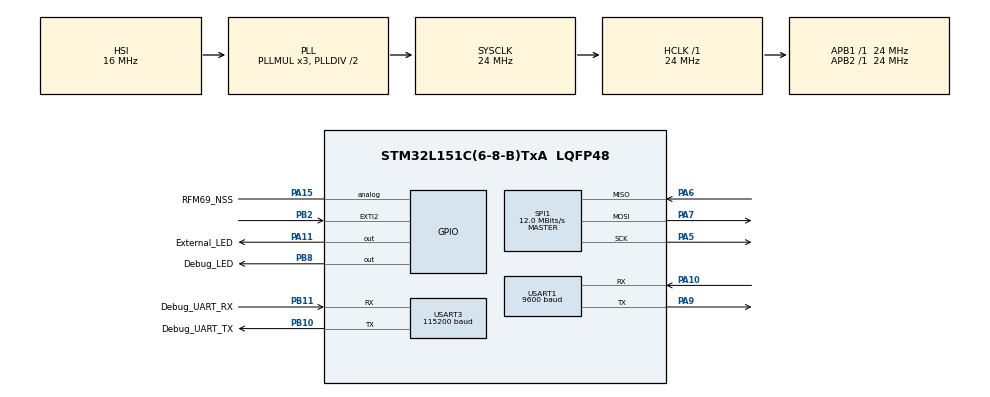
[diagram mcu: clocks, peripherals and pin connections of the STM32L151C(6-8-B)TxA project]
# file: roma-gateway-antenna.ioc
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Mcu.Family=STM32L1
Mcu.Name=STM32L151C(6-8-B)TxA
Mcu.Package=LQFP48
NVIC.EXTI2_IRQn=true\:0\:0\:false\:false\:true\:true\:true\:true
NVIC.PriorityGroup=NVIC_PRIORITYGROUP_4
NVIC.USART1_IRQn=true\:0\:0\:false\:false\:true\:true\:true\:true
PA10.Mode=Asynchronous
PA10.Signal=USART1_RX
PA11.GPIO_Label=External_LED
PA11.Signal=GPIO_Output
PA13.GPIO_Label=Programmer_DIO
PA13.Signal=SYS_JTMS-SWDIO
PA14.GPIO_Label=Programmer_CLK
PA14.Signal=SYS_JTCK-SWCLK
PA15.GPIO_Label=RFM69_NSS
PA15.Signal=GPIO_Analog
PA5.Mode=Full_Duplex_Master
PA5.Signal=SPI1_SCK
PA6.Mode=Full_Duplex_Master
PA6.Signal=SPI1_MISO
PA7.Mode=Full_Duplex_Master
PA7.Signal=SPI1_MOSI
PA9.Mode=Asynchronous
PA9.Signal=USART1_TX
PB10.GPIO_Label=Debug_UART_TX
PB10.Mode=Asynchronous
PB10.Signal=USART3_TX
PB11.GPIO_Label=Debug_UART_RX
PB11.Mode=Asynchronous
PB11.Signal=USART3_RX
PB2.Signal=GPXTI2
PB8.GPIO_Label=Debug_LED
PB8.Signal=GPIO_Output
ProjectManager.HeapSize=0x200
ProjectManager.StackSize=0x400
ProjectManager.TargetToolchain=STM32CubeIDE
RCC.48MHZClocksFreq_Value=24000000
RCC.AHBFreq_Value=24000000
RCC.APB1Freq_Value=24000000
RCC.APB1TimFreq_Value=24000000
RCC.APB2Freq_Value=24000000
RCC.APB2TimFreq_Value=24000000
RCC.HCLKFreq_Value=24000000
RCC.HSE_VALUE=24000000
RCC.HSI_VALUE=16000000
RCC.LSE_VALUE=32768
RCC.MSI_VALUE=2097000
RCC.SYSCLKFreq_VALUE=24000000
RCC.SYSCLKSource=RCC_SYSCLKSOURCE_PLLCLK
RCC.VCOOutputFreq_Value=48000000
SPI1.CalculateBaudRate=12.0 MBits/s
SPI1.Direction=SPI_DIRECTION_2LINES
SPI1.Mode=SPI_MODE_MASTER
SPI1.VirtualType=VM_MASTER
USART1.BaudRate=9600
USART1.VirtualMode=VM_ASYNC
USART3.BaudRate=115200
USART3.Mode=MODE_TX_RX
USART3.Parity=PARITY_NONE
USART3.VirtualMode=VM_ASYNC
board=custom

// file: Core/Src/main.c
/* USER CODE BEGIN Header */
/* USER CODE END Header */
#include "main.h"

/* USER CODE BEGIN Includes */
#include "debug.h"
#include "rfm69/include/rfm69.h"
#include "config.h"

/* USER CODE END Includes */

SPI_HandleTypeDef hspi1;

UART_HandleTypeDef huart1;
UART_HandleTypeDef huart3;

/* USER CODE BEGIN PV */
RFM69 RFM;
/**
 * Buffer used by the UART1 interrupt
 * Everytime the interrupt is triggered,
 * the received character is put here
 */
uint8_t UART1_rxBuffer[1] = {0};

/**
 * Accumulator for bytes received over UART1.
 * Only bytes received after the START bytes have been received
 * are put here.
 */
uint8_t UART1_msgAccumulator[32] = {0};
/**
 * The index at which the next character should be.
 * If this value is 2, the last valid character is at index 1.
 *
 * Should never be >= the size of the msgAccumulator.
 */
uint8_t UART1_msgBufferIdx = 0;

/**
 * Buffer containing a parsed message.
 * The contents of the msgAccumulator are put here after the STOP bytes
 * have been received.
 */
uint8_t UART1_msgReadyBuffer[32] = {0};
/**
 * The length of the msgReadyBuffer.
 *
 * Should not be >= 32
 */
uint8_t UART1_msgReadyLength = 0;
/**
 * Whether the UART1 interrupt handler
 * is currently in the middle of a message.
 * I.e. when the START bytes have been seen
 */
bool UART1_inMessage = false;
/**
 * Whether there's a message ready in UART1_msgReadyBuffer.
 * I.e. UART1_inMessage was true and the STOP bytes have been seen
 */
bool UART1_msgReady = false;
/**
 * The previous byte received by the UART1 interrupt handler.
 */
uint8_t UART1_previousValue = 0;

/**
 * Buffer for transmitting over UART1
 */
uint8_t UART1_txBuffer[UartTxBufSize] = { 0 };
/* USER CODE END PV */

void SystemClock_Config(void);
static void MX_GPIO_Init(void);
static void MX_USART3_UART_Init(void);
static void MX_USART1_UART_Init(void);
static void MX_SPI1_Init(void);

/* USER CODE BEGIN 0 */
/**
 * Interrupt handler for UART1.
 * This handler is called for every character received via UART1.
 *
 * It'll detect the START and STOP bytes set by the controller and extract the message in between.
 * If a full message has been found, `UART1_msgReady` is set.
 * @param huart
 */
void HAL_UART_RxCpltCallback(UART_HandleTypeDef *huart) {
  // Safe as this interrupt gets called when
  // a character is received.
  uint8_t byte = UART1_rxBuffer[0];

  if (byte == 0xFE && UART1_previousValue == 0xFF) {
    // We've detected the START bytes
    UART1_inMessage = true;
  } else if (UART1_previousValue == 0xFF && byte == 0xFD && UART1_inMessage) {
    // We've detected the STOP byte,
    // and we were in the middle of a message

    // As the current character is the second byte of the STOP bytes,
    // we must remove the first byte of the STOP bytes from our message buffer
    --UART1_msgBufferIdx;

    // We're no longer in a message now, we're at the end
    UART1_inMessage = false;

    // Copy the contents of the message accumulator
    // to the message ready buffer
    for (int i = 0; i < UART1_msgBufferIdx && i < 32; i++) {
      UART1_msgReadyBuffer[i] = UART1_msgAccumulator[i];
    }

    // Set the length and inform that a message is ready
    UART1_msgReadyLength = UART1_msgBufferIdx;
    UART1_msgReady = true;

    // Reset state
    UART1_msgBufferIdx = 0;
    UART1_previousValue = 0;
  } else if (UART1_inMessage) {
    // We're in the middle of a message,
    // so add the received character to the buffer
    UART1_msgAccumulator[UART1_msgBufferIdx++] = byte;

    UART1_previousValue = byte;
  } else {
    // We're not in a message.
    // Just set the previous_value for the next time
    // the interrupt is triggered.

    UART1_previousValue = byte;
  }

  // Start receiving in interrupt mode again
  HAL_UART_Receive_IT(huart, UART1_rxBuffer, 1);
}

/**
 * Handle any data received by the RFM, if there is any.
 * It'll format a packet and transmit it over UART1
 */
void handleRfmRx() {
  if (RFM.datalen > 0) {
    debug_print("Received message from radio");

    // Clear the buffer
    for(int i = 0; i < UartTxBufSize; i++) {
      UART1_txBuffer[i] = 0x0;
    }

    // Set the START bytes for the UART payload
    UART1_txBuffer[0] = 0xFF;
    UART1_txBuffer[1] = 0xFE;

    // Copy the data from the RFM's RX buffer to the UART TX buffer,
    // after the START bytes.
    for (int i = 0; i < RFM.datalen && i < UartTxBufSize - 4; i++) {
      UART1_txBuffer[i + 2] = RFM.data[i];
    }

    // Set the STOP bytes after the data.
    UART1_txBuffer[RFM.datalen + 2] = 0xFF;
    UART1_txBuffer[RFM.datalen + 3] = 0xFD;

    // Transmit over UART1
    int length = RFM.datalen + 4 > UartTxBufSize ? UartTxBufSize : RFM.datalen + 4;
    HAL_UART_Transmit(&huart1, UART1_txBuffer, length, HAL_MAX_DELAY);

    // Reset the datalen for the next reception
    RFM.datalen = 0;
  }
}

/**
 * Handle data received from UART1, if there is any.
 * It'll send the data over the RFM.
 */
void handleUart1Rx() {
  // Transmit a payload over the radio
  // received from the controller
  if (UART1_msgReady) {
    debug_print("Received message from controller");
    debug_print("Will send: ");
    for(int i = 0; i < UART1_msgReadyLength; i++) {
      char buf[5] = { 0 };
      sprintf(buf, "0x%X", UART1_msgReadyBuffer[i] );
      debug_print(buf);
    }

    send(&RFM, RfmOwnId, RfmDeviceID, UART1_msgReadyBuffer, UART1_msgReadyLength);

    // Reset UART1 state
    UART1_msgReady = false;

    // Start receiving again with the RFM
    receive_begin(&RFM);
  }
}

/* USER CODE END 0 */

int main(void)
{

  /* MCU Configuration--------------------------------------------------------*/

  /* Reset of all peripherals, Initializes the Flash interface and the Systick. */
  HAL_Init();

  /* Configure the system clock */
  SystemClock_Config();

  /* Initialize all configured peripherals */
  MX_GPIO_Init();
  MX_USART3_UART_Init();
  MX_USART1_UART_Init();
  MX_SPI1_Init();
  /* USER CODE BEGIN 2 */
  RFM = get_rfm(&hspi1, RFM69_NSS_GPIO_Port, RFM69_NSS_Pin, RfmOwnId);
  HAL_StatusTypeDef result = init(&RFM, RfmNetworkId);
  if(result != HAL_OK) {
    debug_print("Failed to init RFM");
    Error_Handler();
    return 1;
  }

  HAL_UART_Receive_IT(&huart1, UART1_rxBuffer, 1);
  receive_begin(&RFM);
  /* USER CODE END 2 */

  /* Infinite loop */
  /* USER CODE BEGIN WHILE */
  while (1) {
    handleRfmRx();
    handleUart1Rx();
    /* USER CODE END WHILE */

  }
}

void SystemClock_Config(void)
{
  RCC_OscInitTypeDef RCC_OscInitStruct = {0};
  RCC_ClkInitTypeDef RCC_ClkInitStruct = {0};

  /** Configure the main internal regulator output voltage
  */
  __HAL_PWR_VOLTAGESCALING_CONFIG(PWR_REGULATOR_VOLTAGE_SCALE1);

  /** Initializes the RCC Oscillators according to the specified parameters
  * in the RCC_OscInitTypeDef structure.
  */
  RCC_OscInitStruct.OscillatorType = RCC_OSCILLATORTYPE_HSI;
  RCC_OscInitStruct.HSIState = RCC_HSI_ON;
  RCC_OscInitStruct.HSICalibrationValue = RCC_HSICALIBRATION_DEFAULT;
  RCC_OscInitStruct.PLL.PLLState = RCC_PLL_ON;
  RCC_OscInitStruct.PLL.PLLSource = RCC_PLLSOURCE_HSI;
  RCC_OscInitStruct.PLL.PLLMUL = RCC_PLL_MUL3;
  RCC_OscInitStruct.PLL.PLLDIV = RCC_PLL_DIV2;
  if (HAL_RCC_OscConfig(&RCC_OscInitStruct) != HAL_OK)
  {
    Error_Handler();
  }

  /** Initializes the CPU, AHB and APB buses clocks
  */
  RCC_ClkInitStruct.ClockType = RCC_CLOCKTYPE_HCLK|RCC_CLOCKTYPE_SYSCLK
                              |RCC_CLOCKTYPE_PCLK1|RCC_CLOCKTYPE_PCLK2;
  RCC_ClkInitStruct.SYSCLKSource = RCC_SYSCLKSOURCE_PLLCLK;
  RCC_ClkInitStruct.AHBCLKDivider = RCC_SYSCLK_DIV1;
  RCC_ClkInitStruct.APB1CLKDivider = RCC_HCLK_DIV1;
  RCC_ClkInitStruct.APB2CLKDivider = RCC_HCLK_DIV1;

  if (HAL_RCC_ClockConfig(&RCC_ClkInitStruct, FLASH_LATENCY_1) != HAL_OK)
  {
    Error_Handler();
  }
}

static void MX_SPI1_Init(void)
{

  /* SPI1 parameter configuration*/
  hspi1.Instance = SPI1;
  hspi1.Init.Mode = SPI_MODE_MASTER;
  hspi1.Init.Direction = SPI_DIRECTION_2LINES;
  hspi1.Init.DataSize = SPI_DATASIZE_8BIT;
  hspi1.Init.CLKPolarity = SPI_POLARITY_LOW;
  hspi1.Init.CLKPhase = SPI_PHASE_1EDGE;
  hspi1.Init.NSS = SPI_NSS_SOFT;
  hspi1.Init.BaudRatePrescaler = SPI_BAUDRATEPRESCALER_2;
  hspi1.Init.FirstBit = SPI_FIRSTBIT_MSB;
  hspi1.Init.TIMode = SPI_TIMODE_DISABLE;
  hspi1.Init.CRCCalculation = SPI_CRCCALCULATION_DISABLE;
  hspi1.Init.CRCPolynomial = 10;
  if (HAL_SPI_Init(&hspi1) != HAL_OK)
  {
    Error_Handler();
  }

}

static void MX_USART1_UART_Init(void)
{

  huart1.Instance = USART1;
  huart1.Init.BaudRate = 9600;
  huart1.Init.WordLength = UART_WORDLENGTH_8B;
  huart1.Init.StopBits = UART_STOPBITS_1;
  huart1.Init.Parity = UART_PARITY_NONE;
  huart1.Init.Mode = UART_MODE_TX_RX;
  huart1.Init.HwFlowCtl = UART_HWCONTROL_NONE;
  huart1.Init.OverSampling = UART_OVERSAMPLING_16;
  if (HAL_UART_Init(&huart1) != HAL_OK)
  {
    Error_Handler();
  }

}

static void MX_USART3_UART_Init(void)
{

  huart3.Instance = USART3;
  huart3.Init.BaudRate = 115200;
  huart3.Init.WordLength = UART_WORDLENGTH_8B;
  huart3.Init.StopBits = UART_STOPBITS_1;
  huart3.Init.Parity = UART_PARITY_NONE;
  huart3.Init.Mode = UART_MODE_TX_RX;
  huart3.Init.HwFlowCtl = UART_HWCONTROL_NONE;
  huart3.Init.OverSampling = UART_OVERSAMPLING_16;
  if (HAL_UART_Init(&huart3) != HAL_OK)
  {
    Error_Handler();
  }

}

static void MX_GPIO_Init(void)
{
  GPIO_InitTypeDef GPIO_InitStruct = {0};

  /* GPIO Ports Clock Enable */
  __HAL_RCC_GPIOC_CLK_ENABLE();
  __HAL_RCC_GPIOH_CLK_ENABLE();
  __HAL_RCC_GPIOA_CLK_ENABLE();
  __HAL_RCC_GPIOB_CLK_ENABLE();

  /*Configure GPIO pin Output Level */
  HAL_GPIO_WritePin(External_LED_GPIO_Port, External_LED_Pin, GPIO_PIN_RESET);

  /*Configure GPIO pin Output Level */
  HAL_GPIO_WritePin(Debug_LED_GPIO_Port, Debug_LED_Pin, GPIO_PIN_RESET);

  /*Configure GPIO pins : PC13 PC14 PC15 */
  GPIO_InitStruct.Pin = GPIO_PIN_13|GPIO_PIN_14|GPIO_PIN_15;
  GPIO_InitStruct.Mode = GPIO_MODE_ANALOG;
  GPIO_InitStruct.Pull = GPIO_NOPULL;
  HAL_GPIO_Init(GPIOC, &GPIO_InitStruct);

  /*Configure GPIO pins : PH0 PH1 */
  GPIO_InitStruct.Pin = GPIO_PIN_0|GPIO_PIN_1;
  GPIO_InitStruct.Mode = GPIO_MODE_ANALOG;
  GPIO_InitStruct.Pull = GPIO_NOPULL;
  HAL_GPIO_Init(GPIOH, &GPIO_InitStruct);

  /*Configure GPIO pins : PA0 PA1 PA2 PA3
                           PA4 PA8 PA12 RFM69_NSS_Pin */
  GPIO_InitStruct.Pin = GPIO_PIN_0|GPIO_PIN_1|GPIO_PIN_2|GPIO_PIN_3
                          |GPIO_PIN_4|GPIO_PIN_8|GPIO_PIN_12|RFM69_NSS_Pin;
  GPIO_InitStruct.Mode = GPIO_MODE_ANALOG;
  GPIO_InitStruct.Pull = GPIO_NOPULL;
  HAL_GPIO_Init(GPIOA, &GPIO_InitStruct);

  /*Configure GPIO pins : PB0 PB1 PB12 PB13
                           PB14 PB15 PB3 PB4
                           PB5 PB6 PB7 PB9 */
  GPIO_InitStruct.Pin = GPIO_PIN_0|GPIO_PIN_1|GPIO_PIN_12|GPIO_PIN_13
                          |GPIO_PIN_14|GPIO_PIN_15|GPIO_PIN_3|GPIO_PIN_4
                          |GPIO_PIN_5|GPIO_PIN_6|GPIO_PIN_7|GPIO_PIN_9;
  GPIO_InitStruct.Mode = GPIO_MODE_ANALOG;
  GPIO_InitStruct.Pull = GPIO_NOPULL;
  HAL_GPIO_Init(GPIOB, &GPIO_InitStruct);

  /*Configure GPIO pin : PB2 */
  GPIO_InitStruct.Pin = GPIO_PIN_2;
  GPIO_InitStruct.Mode = GPIO_MODE_IT_RISING;
  GPIO_InitStruct.Pull = GPIO_NOPULL;
  HAL_GPIO_Init(GPIOB, &GPIO_InitStruct);

  /*Configure GPIO pin : External_LED_Pin */
  GPIO_InitStruct.Pin = External_LED_Pin;
  GPIO_InitStruct.Mode = GPIO_MODE_OUTPUT_PP;
  GPIO_InitStruct.Pull = GPIO_NOPULL;
  GPIO_InitStruct.Speed = GPIO_SPEED_FREQ_LOW;
  HAL_GPIO_Init(External_LED_GPIO_Port, &GPIO_InitStruct);

  /*Configure GPIO pin : Debug_LED_Pin */
  GPIO_InitStruct.Pin = Debug_LED_Pin;
  GPIO_InitStruct.Mode = GPIO_MODE_OUTPUT_PP;
  GPIO_InitStruct.Pull = GPIO_NOPULL;
  GPIO_InitStruct.Speed = GPIO_SPEED_FREQ_LOW;
  HAL_GPIO_Init(Debug_LED_GPIO_Port, &GPIO_InitStruct);

  /* EXTI interrupt init*/
  HAL_NVIC_SetPriority(EXTI2_IRQn, 0, 0);
  HAL_NVIC_EnableIRQ(EXTI2_IRQn);

}

void Error_Handler(void)
{
  __disable_irq();
  while (1) {
  }
}
